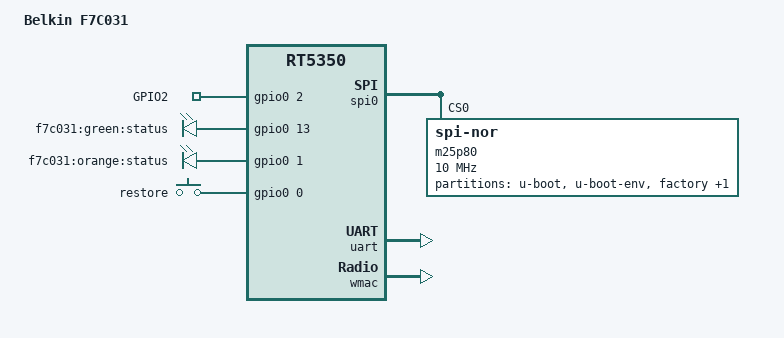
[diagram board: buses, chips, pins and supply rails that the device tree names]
/dts-v1/;

#include "rt5350.dtsi"

/ {
	compatible = "F7C031", "ralink,rt5350-soc";
	model = "Belkin F7C031";

	chosen {
		bootargs = "console=ttyS1,57600";
	};

	gpio-export {
		compatible = "gpio-export";
		#size-cells = <0>;

		gpio2 {
			gpio-export,name = "GPIO2";
			gpios = <&gpio0 2 0>;
		};
	};

	gpio-leds {
		compatible = "gpio-leds";

		status {
			label = "f7c031:green:status";
			gpios = <&gpio0 13 0>;
		};

		orange {
			label = "f7c031:orange:status";
			gpios = <&gpio0 1 0>;
		};
	};

	gpio-keys-polled {
		compatible = "gpio-keys-polled";
		#address-cells = <1>;
		#size-cells = <0>;
		poll-interval = <20>;

		restore {
			label = "restore";
			gpios = <&gpio0 0 0>;
			linux,code = <0x198>;
		};

	};
};

&spi0 {
	status = "okay";

	m25p80@0 {
		#address-cells = <1>;
		#size-cells = <1>;
		compatible = "jedec,spi-nor";
		reg = <0>;
		linux,modalias = "m25p80", "w25q128";
		spi-max-frequency = <10000000>;

		partition@0 {
			label = "u-boot";
			reg = <0x0 0x30000>;
			read-only;
		};

		partition@30000 {
			label = "u-boot-env";
			reg = <0x30000 0x10000>;
			read-only;
		};

		factory: partition@40000 {
			label = "factory";
			reg = <0x40000 0x10000>;
			read-only;
		};

		partition@50000 {
			label = "firmware";
			reg = <0x50000 0xfb0000>;
		};
	};
};

&uart {
	status = "okay";
};

&wmac {
	ralink,mtd-eeprom = <&factory 0>;
};

&pinctrl {
	state_default: pinctrl0 {
		gpio {
			ralink,group = "i2c" , "jtag", "uartf";
			ralink,function = "gpio";
		};
	};
};
